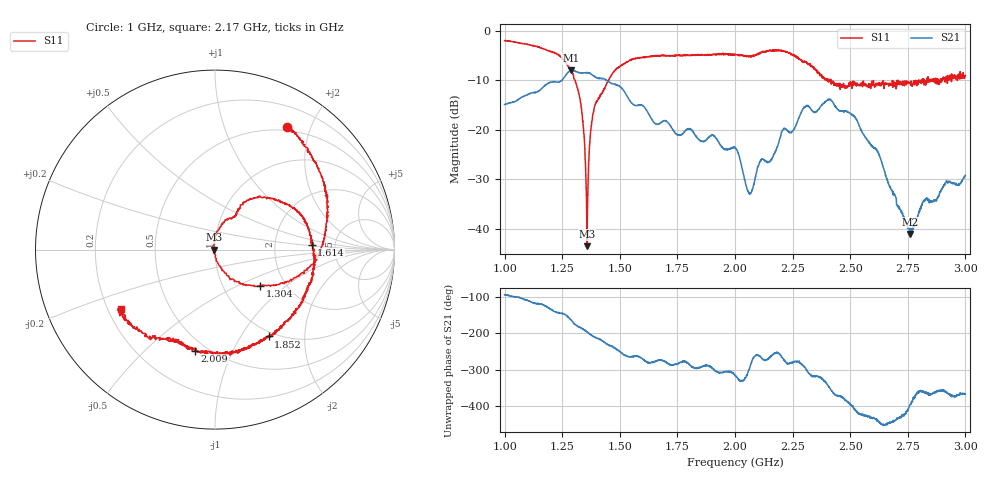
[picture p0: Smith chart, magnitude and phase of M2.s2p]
# HZ S RI R 50
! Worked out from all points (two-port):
!   2020 points, 1 GHz to 3 GHz, reference 50 ohm
!   highest |S21| = -8.00 dB at 1.287 GHz (marker M1); lowest = -41.0 dB at 2.761 GHz (marker M2)
!   |S21| within 3 dB of the highest: 1.177 GHz to 1.488 GHz (311.7 MHz wide, 23.4 % of centre); 1.488548 GHz to 1.489657 GHz (1.108 MHz wide, 0.0744 % of centre)
!   lowest |S11| = -43.5 dB at 1.358 GHz (marker M3), VSWR 1.01, Z = 49.3 + j0.0139 ohm
!   |S11| at or under -10 dB: 1.305 GHz to 1.451 GHz (145.6 MHz wide, 10.6 % of centre); 2.416 GHz to 2.707 GHz (290.6 MHz wide, 11.3 % of centre); 2.707 GHz to 2.798 GHz (90.77 MHz wide, 3.3 % of centre)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
!   S12 and S22 are empty: the file has one direction only
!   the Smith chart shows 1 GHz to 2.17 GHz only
!   S11 on the Smith chart (normalised r, x): 1 GHz: 0.45, +1.65; 1.304 GHz: 1.49, -0.66; 1.614 GHz: 3.32, +0.25; 1.852 GHz: 0.93, -1.33; 2.009 GHz: 0.43, -0.72; 2.17 GHz: 0.25, -0.27
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1e9  0.4004 0.6855  -0.0109 -0.1797  0 0  0 0
1.171371e9  0.6269 0.1857  -0.1484 -0.2308  0 0  0 0
1.287269e9  0.3437 -0.1947  -0.3786 -0.1234  0 0  0 0
1.30411e9  0.2497 -0.2  -0.39 -0.0399  0 0  0 0
1.333828e9  0.0716 -0.1475  -0.3714 0.0424  0 0  0 0
1.357602e9  -0.0067 0.000141  -0.3607 0.1042  0 0  0 0
1.378404e9  0.0263 0.1193  -0.3273 0.1508  0 0  0 0
1.398216e9  0.0788 0.1745  -0.2876 0.1769  0 0  0 0
1.493312e9  0.3139 0.2836  -0.1098 0.2574  0 0  0 0
1.614164e9  0.538 0.0264  0.0222 0.1586  0 0  0 0
1.667656e9  0.5499 -0.1017  0.00518 0.1142  0 0  0 0
1.851905e9  0.2992 -0.4835  0.0281 0.0714  0 0  0 0
2.000494e9  -0.1001 -0.569  0.0471 0.0465  0 0  0 0
2.009409e9  -0.1122 -0.5629  0.0485 0.0393  0 0  0 0
2.063891e9  -0.2097 -0.5151  0.00895 0.0206  0 0  0 0
2.169885e9  -0.5248 -0.3282  -0.0153 0.0553  0 0  0 0
2.334323e9  -0.2772 0.3345  0.1139 0.1079  0 0  0 0
2.51461e9  0.0811 0.2764  0.0993 -0.0977  0 0  0 0
2.66716e9  0.2884 0.0639  0.00147 -0.0279  0 0  0 0
2.761266e9  0.2791 -0.0774  0.00728 -0.00511  0 0  0 0
2.823673e9  0.256 -0.1548  0.0198 -0.00156  0 0  0 0
2.999999e9  0.2026 -0.2894  0.0345 -0.0038  0 0  0 0
